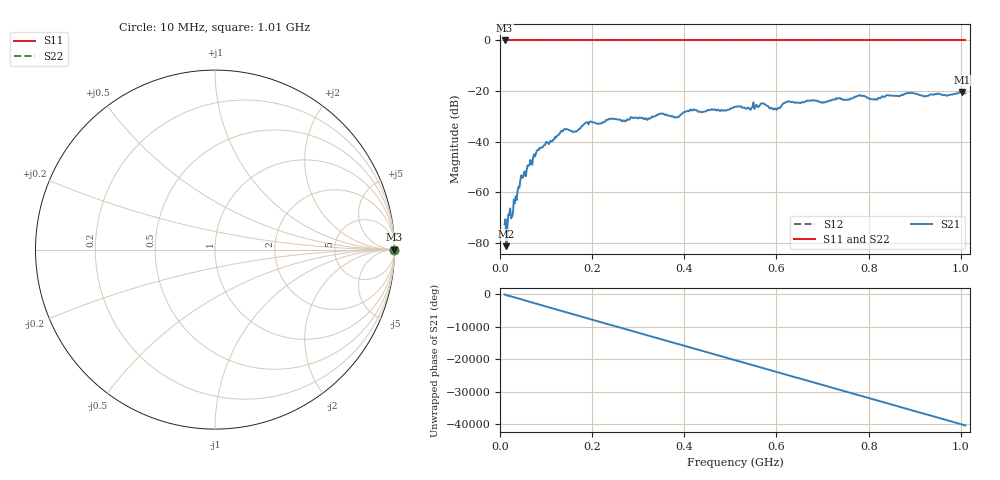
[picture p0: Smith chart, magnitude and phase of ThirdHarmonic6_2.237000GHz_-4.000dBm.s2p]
! 8/17/2025 2:35:18 AM
! C:\ANRITSUVNA\TEMP\TEMP.S2P
! CHANNEL.1
! TR.MEASUREMENT
! RAW.DATA
! RF.CORRECTION.OFF
! AVERAGING.OFF
! IF.BANDWIDTH: 5KHZ
! SWEEPTYPE:  FREQ.SWEEP(Linear)
! Reference Plane Port Info
! PORT:  PORT1  PORT2
! DISTANCE:  0  m  0  m
! TIME:  0  s  0  s
! PHASE.OFFSET:  0  deg.  0  deg.
! LOSS:  0  dB  0  dB
! REF.LOSS:  0  dB  0  dB
! REF.FREQ:  0  Hz  0  Hz
! Power Info
! POWER:  -20  dBm  -20  dBm
! EFF.POWER:  -20  dBm  -20  dBm
! SOURCE.ATTEN:  0  dB  0  dB
! TEST.ATTEN:  0  dB  0  dB
# GHZ S RI R 50.0
! FREQ.GHZ  S11RE  S11IM  S21RE  S21IM  S12RE  S12IM  S22RE  S22IM
!; PortSelection: Port_12
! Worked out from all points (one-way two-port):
!   501 points, 10 MHz to 1.01 GHz, reference 50 ohm
!   highest |S21| = -20.40 dB at 1.002 GHz (marker M1); lowest = -81.3 dB at 14 MHz (marker M2)
!   lowest |S11| = 0.0 dB at 10 MHz (marker M3)
!   |S11| at or under -10 dB: nowhere
!   |S22| runs from 0.0 to 0.0 dB; largest |S21 - S12| = 1.1
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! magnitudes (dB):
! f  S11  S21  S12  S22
! 10 MHz  0.0  -72.6  0.0  0.0
! 14 MHz  0.0  -81.3  0.0  0.0
! 28 MHz  0.0  -68.5  0.0  0.0
! 48 MHz  0.0  -54.2  0.0  0.0
! 82 MHz  0.0  -43.2  0.0  0.0
! 136 MHz  0.0  -36.0  0.0  0.0
! 162 MHz  0.0  -36.1  0.0  0.0
! 178 MHz  0.0  -33.8  0.0  0.0
! 344 MHz  0.0  -29.3  0.0  0.0
! 382 MHz  0.0  -30.3  0.0  0.0
! 416 MHz  0.0  -27.6  0.0  0.0
! 510 MHz  0.0  -26.2  0.0  0.0
! 540 MHz  0.0  -26.6  0.0  0.0
! 570 MHz  0.0  -24.8  0.0  0.0
! 596 MHz  0.0  -26.8  0.0  0.0
! 622 MHz  0.0  -24.4  0.0  0.0
! 678 MHz  0.0  -23.7  0.0  0.0
! 780 MHz  0.0  -21.6  0.0  0.0
! 814 MHz  0.0  -23.2  0.0  0.0
! 844 MHz  0.0  -21.7  0.0  0.0
! 1.002 GHz  0.0  -20.4  0.0  0.0
! 1.01 GHz  0.0  -20.9  0.0  0.0
